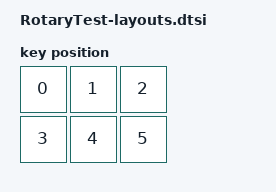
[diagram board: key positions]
/ {
    physical_layout0: physical_layout_0 {
        compatible = "zmk,physical-layout";
        display-name = "Default Layout";
        kscan = <&default_kscan>;
        transform = <&transform>;

        keys //               w   h    x    y     rot    rx    ry
            = <&key_physical_attrs 100 100  0    0       0     0     0>
            , <&key_physical_attrs 100 100  100    0       0     0     0>
            , <&key_physical_attrs 100 100  200    0       0     0     0>
            , <&key_physical_attrs 100 100  0    100       0     0     0>
            , <&key_physical_attrs 100 100  100    100       0     0     0>
            , <&key_physical_attrs 100 100  200    100       0     0     0>
            ;
    };
};
